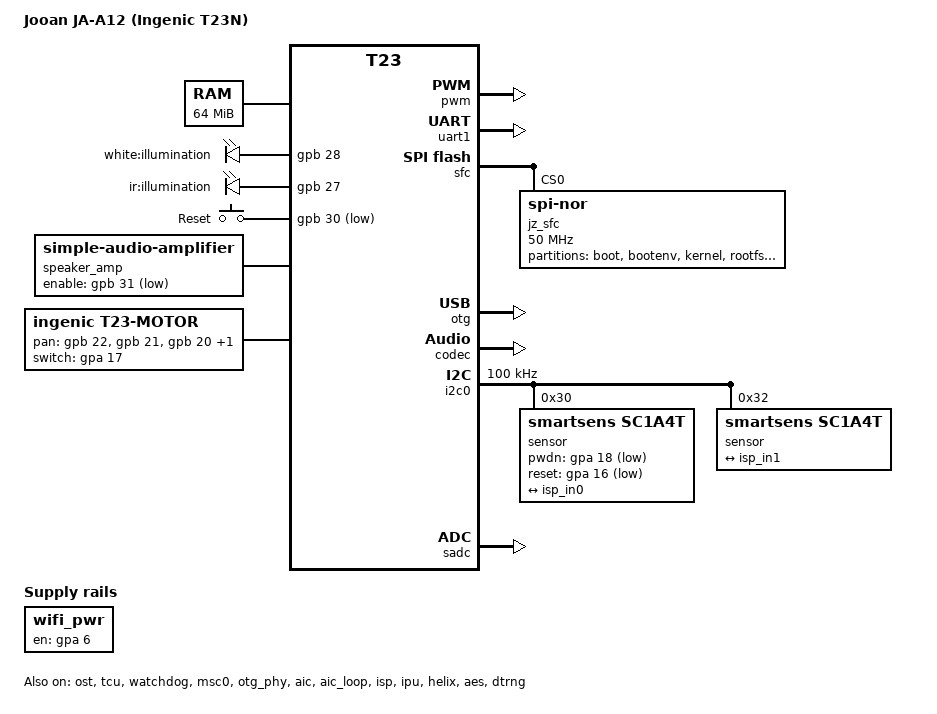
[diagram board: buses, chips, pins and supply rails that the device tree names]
// SPDX-License-Identifier: GPL-2.0
// Copyright (C) 2026 Difan Zhang
/dts-v1/;

#include "t23.dtsi"
#include <dt-bindings/gpio/gpio.h>
#include <dt-bindings/input/input.h>

/ {
	model = "Jooan JA-A12 (Ingenic T23N)";
	compatible = "jooan,ja-a12", "ingenic,t23";

	aliases {
		serial0 = &uart0;
		serial1 = &uart1;
		serial2 = &uart2;
	};

	chosen {
		bootargs = "earlycon console=ttyS1,115200n8 loglevel=7";
		stdout-path = "serial1:115200n8";
	};

	memory@0 {
		device_type = "memory";
		reg = <0x00000000 0x04000000>;
	};

	reserved-memory {
		#address-cells = <1>;
		#size-cells = <1>;
		ranges;

		camera_reserved: camera@2800000 {
			compatible = "shared-dma-pool";
			reg = <0x02800000 0x01800000>;
			reusable;
			linux,cma-default;
		};
	};

	illumination {
		compatible = "gpio-leds";

		led-white {
			label = "white:illumination";
			gpios = <&gpb 28 GPIO_ACTIVE_HIGH>;
			default-state = "off";
		};

		led-infrared {
			label = "ir:illumination";
			gpios = <&gpb 27 GPIO_ACTIVE_HIGH>;
			default-state = "off";
		};
	};

	keys {
		compatible = "gpio-keys";

		key-reset {
			label = "Reset";
			gpios = <&gpb 30 GPIO_ACTIVE_LOW>;
			linux,code = <KEY_RESTART>;
		};
	};

	wifi_pwr: wifi-regulator {
		compatible = "regulator-fixed";
		regulator-name = "wifi_power";
		gpio = <&gpa 6 GPIO_ACTIVE_HIGH>;
		enable-active-high;
		regulator-boot-on;
		regulator-always-on;
	};

	speaker_amp: speaker-amplifier {
		compatible = "simple-audio-amplifier";
		enable-gpios = <&gpb 31 GPIO_ACTIVE_LOW>;
		sound-name-prefix = "Speaker Amp";
	};

	sound {
		compatible = "simple-audio-card";
		simple-audio-card,name = "ja-a12-audio";
		#address-cells = <1>;
		#size-cells = <0>;

		simple-audio-card,widgets =
			"Speaker", "Speaker",
			"Microphone", "Mic";
		simple-audio-card,routing =
			"Speaker Amp INL", "LOUT",
			"Speaker Amp INR", "ROUT",
			"Speaker", "Speaker Amp OUTL",
			"Speaker", "Speaker Amp OUTR",
			"MICIN", "Mic";

		simple-audio-card,aux-devs = <&speaker_amp>;

		simple-audio-card,dai-link@0 {
			reg = <0>;
			format = "i2s";
			bitclock-master = <&sound_codec>;
			frame-master = <&sound_codec>;

			cpu {
				sound-dai = <&aic>;
			};

			sound_codec: codec {
				sound-dai = <&codec 0>;
			};
		};

		simple-audio-card,dai-link@1 {
			reg = <1>;

			cpu {
				sound-dai = <&aic_loop>;
			};

			codec {
				sound-dai = <&codec 1>;
			};
		};
	};

	motor {
		compatible = "ingenic,t23-motor";
		pan-gpios = <&gpb 22 GPIO_ACTIVE_HIGH>,
			    <&gpb 21 GPIO_ACTIVE_HIGH>,
			    <&gpb 20 GPIO_ACTIVE_HIGH>,
			    <&gpb 19 GPIO_ACTIVE_HIGH>;
		switch-gpios = <&gpa 17 GPIO_ACTIVE_HIGH>;
		status = "okay";
	};
};

&pinctrl {
	status = "okay";
};

&gpb {
	gpio-line-names = "", "", "", "", "", "", "", "",
			  "", "", "", "", "", "", "", "",
			  "", "ircut-out", "ircut-in";
};

&ost {
	status = "okay";
};

&tcu {
	status = "okay";
};

&pwm {
	status = "okay";
};

&watchdog {
	status = "okay";
};

&pdma {
	status = "okay";
};

&uart1 {
	pinctrl-names = "default";
	pinctrl-0 = <&pins_uart1_b>;
	status = "okay";
};

&sfc {
	pinctrl-names = "default";
	pinctrl-0 = <&pins_sfc>;
	status = "okay";

	flash@0 {
		compatible = "jedec,spi-nor";
		reg = <0>;
		label = "jz_sfc";
		spi-max-frequency = <50000000>;
		spi-rx-bus-width = <2>;
		spi-tx-bus-width = <2>;

		partitions {
			compatible = "fixed-partitions";
			#address-cells = <1>;
			#size-cells = <1>;

			partition@0 {
				label = "boot";
				reg = <0x000000 0x040000>;
			};

			partition@40000 {
				label = "bootenv";
				reg = <0x040000 0x008000>;
			};

			partition@48000 {
				label = "kernel";
				reg = <0x048000 0x200000>;
			};

			partition@248000 {
				label = "rootfs";
				reg = <0x248000 0x300000>;
			};

			partition@548000 {
				label = "overlay";
				reg = <0x548000 0x2b8000>;
			};
		};
	};
};

&msc0 {
	pinctrl-names = "default";
	pinctrl-0 = <&pins_mmc0>;
	bus-width = <4>;
	max-frequency = <25000000>;
	cd-gpios = <&gpb 29 GPIO_ACTIVE_LOW>;
	status = "okay";
};

&otg_phy {
	status = "okay";
};

&otg {
	status = "okay";
};

&aic {
	status = "okay";
};

&aic_loop {
	status = "okay";
};

&codec {
	status = "okay";
};

&i2c0 {
	pinctrl-names = "default";
	pinctrl-0 = <&pins_i2c0>;
	clock-frequency = <100000>;
	status = "okay";

	sensor@30 {
		compatible = "smartsens,sc1a4t";
		reg = <0x30>;
		clocks = <&cgu CLK_CGU_CIM>;
		clock-names = "xvclk";
		pwdn-gpios = <&gpa 18 GPIO_ACTIVE_LOW>;
		reset-gpios = <&gpa 16 GPIO_ACTIVE_LOW>;
		smartsens,secondary-i2c-addr = <0x32>;

		port {
			sensor0_out: endpoint {
				remote-endpoint = <&isp_in0>;
				clock-lanes = <0>;
				data-lanes = <1>;
				link-frequencies = /bits/ 64 <360000000>;
			};
		};
	};

	sensor@32 {
		compatible = "smartsens,sc1a4t";
		reg = <0x32>;
		clocks = <&cgu CLK_CGU_CIM>;
		clock-names = "xvclk";
		smartsens,frame-sync-slave;

		port {
			sensor1_out: endpoint {
				remote-endpoint = <&isp_in1>;
				clock-lanes = <0>;
				data-lanes = <1>;
				link-frequencies = /bits/ 64 <360000000>;
			};
		};
	};
};

&isp {
	assigned-clocks = <&cgu CLK_CGU_ISP>;
	assigned-clock-parents = <&cgu CLK_SCLKA>;
	assigned-clock-rates = <240000000>;
	memory-region = <&camera_reserved>;
	ingenic,frame-sync-source-port = <0>;
	pinctrl-names = "default";
	pinctrl-0 = <&pins_vic_switch &pins_cim_mclk>;
	status = "okay";

	ports {
		#address-cells = <1>;
		#size-cells = <0>;

		port@0 {
			reg = <0>;
			isp_in0: endpoint {
				remote-endpoint = <&sensor0_out>;
				clock-lanes = <0>;
				data-lanes = <1>;
			};
		};

		port@1 {
			reg = <1>;
			isp_in1: endpoint {
				remote-endpoint = <&sensor1_out>;
				clock-lanes = <0>;
				data-lanes = <1>;
			};
		};
	};
};

&ipu {
	memory-region = <&camera_reserved>;
	status = "okay";
};

&helix {
	assigned-clocks = <&cgu CLK_CGU_VPU>;
	assigned-clock-rates = <450000000>;
	memory-region = <&camera_reserved>;
	status = "okay";
};

&aes {
	status = "okay";
};

&dtrng {
	status = "okay";
};

&sadc {
	status = "okay";
};
